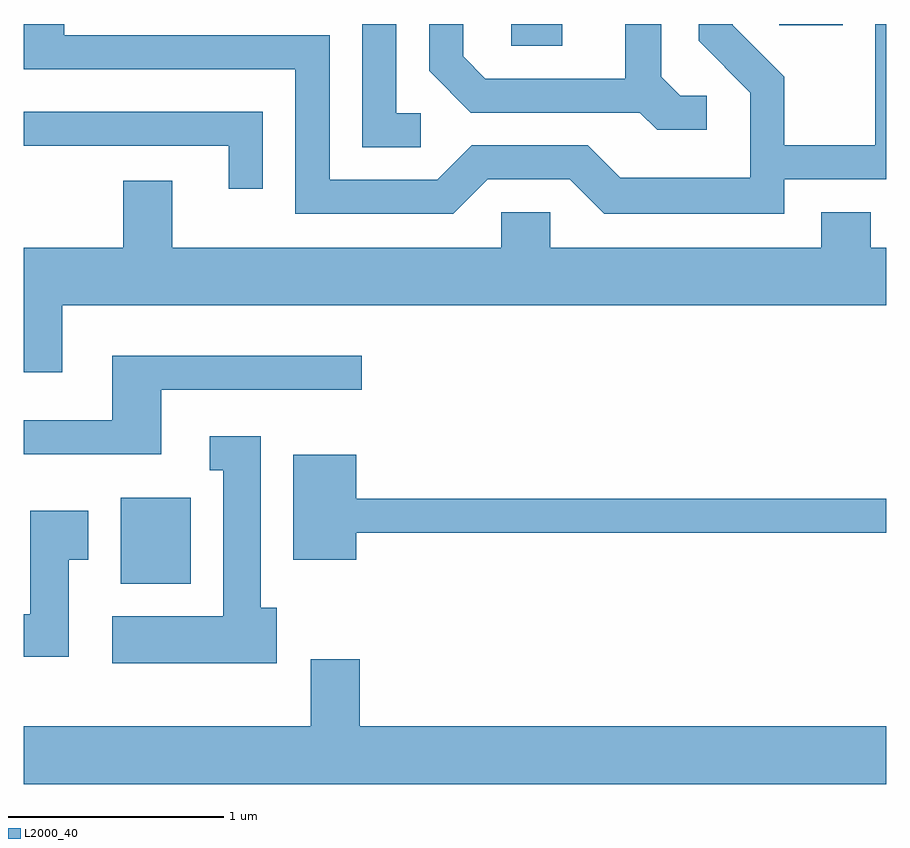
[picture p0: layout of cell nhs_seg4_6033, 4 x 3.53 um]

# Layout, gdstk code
import gdstk
lib = gdstk.Library(unit=1e-6, precision=1e-09)
def R(c, l, rs):  # rectangles x0, y0, x1, y1
    for r in rs: c.add(gdstk.rectangle(r[:2], r[2:], *l))
def P(c, l, *ps):  # polygons
    for p in ps: c.add(gdstk.Polygon(p, *l))
L2000_40 = (2000, 40)

nhs_seg4_6033 = lib.new_cell('nhs_seg4_6033')
R(nhs_seg4_6033, L2000_40, [(362.061,1353.386,362.384,1353.784), (363.871,1355.881,364.109,1355.982), (365.116,1355.976,365.409,1355.982)])
P(nhs_seg4_6033, L2000_40, [(363.453,1355.569),(363.339,1355.569),(363.339,1355.982),(363.181,1355.982),(363.181,1355.411),(363.453,1355.411)],
  [(363.762,1355.261),(364.144,1355.261),(364.304,1355.101),(365.139,1355.101),(365.139,1355.261),(365.611,1355.261),(365.611,1355.982),(365.561,1355.982),(365.561,1355.419),(365.139,1355.419),(365.139,1355.737),(364.899,1355.977),(364.899,1355.982),(364.741,1355.982),(364.741,1355.904),(364.981,1355.664),(364.981,1355.269),(364.377,1355.269),(364.227,1355.419),(363.689,1355.419),(363.529,1355.259),(363.029,1355.259),(363.029,1355.929),(361.799,1355.929),(361.799,1355.982),(361.611,1355.982),(361.611,1355.771),(362.871,1355.771),(362.871,1355.101),(363.602,1355.101)],
  [(364.778,1355.649),(364.657,1355.649),(364.569,1355.737),(364.569,1355.982),(364.401,1355.982),(364.401,1355.729),(363.752,1355.729),(363.649,1355.832),(363.649,1355.982),(363.491,1355.982),(363.491,1355.764),(363.684,1355.571),(364.469,1355.571),(364.549,1355.491),(364.778,1355.491)],
  [(362.719,1355.574),(361.611,1355.574),(361.611,1355.416),(362.561,1355.416),(362.561,1355.218),(362.719,1355.218)],
  [(361.789,1354.676),(365.611,1354.676),(365.611,1354.944),(365.539,1354.944),(365.539,1355.109),(365.311,1355.109),(365.311,1354.944),(364.054,1354.944),(364.054,1355.109),(363.826,1355.109),(363.826,1354.944),(362.299,1354.944),(362.299,1355.254),(362.071,1355.254),(362.071,1354.944),(361.611,1354.944),(361.611,1354.366),(361.789,1354.366)],
  [(362.249,1354.286),(363.178,1354.286),(363.178,1354.444),(362.021,1354.444),(362.021,1354.144),(361.611,1354.144),(361.611,1353.986),(362.249,1353.986)],
  [(362.784,1353.274),(362.709,1353.274),(362.709,1354.069),(362.473,1354.069),(362.473,1353.911),(362.536,1353.911),(362.536,1353.234),(362.021,1353.234),(362.021,1353.016),(362.784,1353.016)],
  [(363.154,1353.621),(365.611,1353.621),(365.611,1353.779),(363.154,1353.779),(363.154,1353.984),(362.861,1353.984),(362.861,1353.496),(363.154,1353.496)],
  [(361.819,1353.496),(361.909,1353.496),(361.909,1353.724),(361.641,1353.724),(361.641,1353.244),(361.611,1353.244),(361.611,1353.046),(361.819,1353.046)],
  [(365.611,1352.724),(363.169,1352.724),(363.169,1353.034),(362.941,1353.034),(362.941,1352.724),(361.611,1352.724),(361.611,1352.456),(365.611,1352.456)])

lib.write_gds('nhs_seg4_6033.gds')
